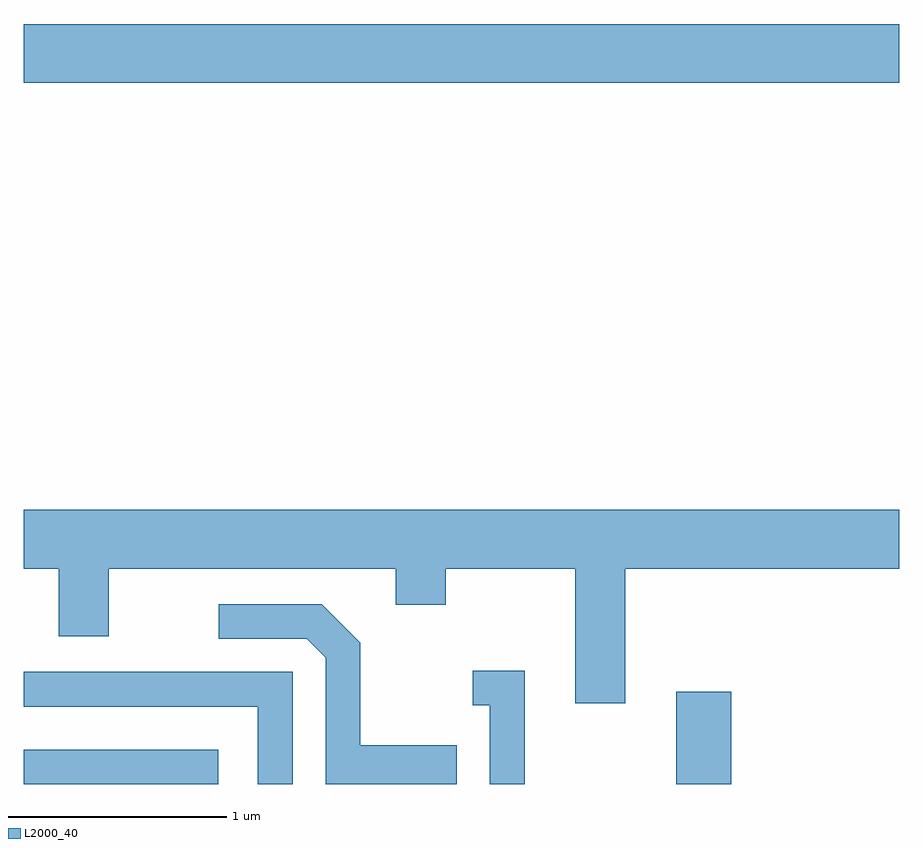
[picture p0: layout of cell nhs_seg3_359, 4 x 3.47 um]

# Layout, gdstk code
import gdstk
lib = gdstk.Library(unit=1e-6, precision=1e-09)
def R(c, l, rs):  # rectangles x0, y0, x1, y1
    for r in rs: c.add(gdstk.rectangle(r[:2], r[2:], *l))
def P(c, l, *ps):  # polygons
    for p in ps: c.add(gdstk.Polygon(p, *l))
L2000_40 = (2000, 40)

nhs_seg3_359 = lib.new_cell('nhs_seg3_359')
R(nhs_seg3_359, L2000_40, [(195.611,1153.892,196.499,1154.049), (198.591,1153.892,198.844,1154.314), (195.611,1157.096,199.611,1157.364)])
P(nhs_seg3_359, L2000_40, [(198.359,1154.876),(199.611,1154.876),(199.611,1155.144),(195.611,1155.144),(195.611,1154.876),(195.771,1154.876),(195.771,1154.566),(195.999,1154.566),(195.999,1154.876),(197.311,1154.876),(197.311,1154.711),(197.539,1154.711),(197.539,1154.876),(198.131,1154.876),(198.131,1154.261),(198.359,1154.261)],
  [(197.589,1154.069),(197.149,1154.069),(197.149,1154.537),(196.972,1154.714),(196.503,1154.714),(196.503,1154.556),(196.904,1154.556),(196.991,1154.469),(196.991,1153.892),(197.589,1153.892)],
  [(197.899,1154.409),(197.663,1154.409),(197.663,1154.251),(197.741,1154.251),(197.741,1153.892),(197.899,1153.892)],
  [(196.839,1154.404),(195.611,1154.404),(195.611,1154.246),(196.681,1154.246),(196.681,1153.892),(196.839,1153.892)])

lib.write_gds('nhs_seg3_359.gds')
